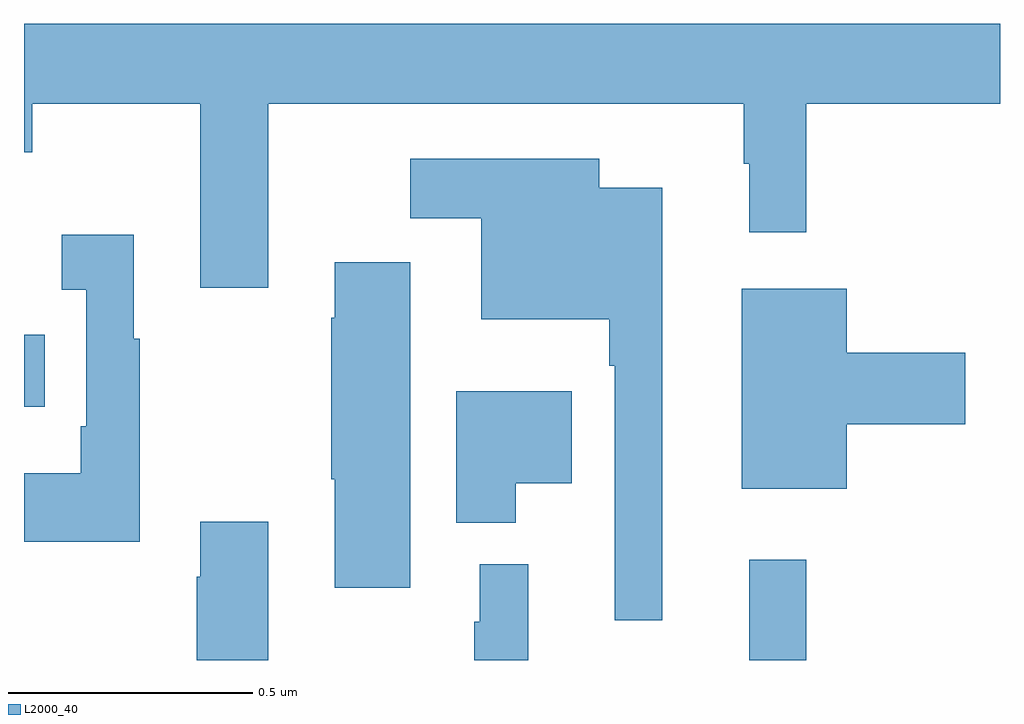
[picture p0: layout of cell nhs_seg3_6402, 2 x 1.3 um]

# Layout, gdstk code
import gdstk
lib = gdstk.Library(unit=1e-6, precision=1e-09)
def R(c, l, rs):  # rectangles x0, y0, x1, y1
    for r in rs: c.add(gdstk.rectangle(r[:2], r[2:], *l))
def P(c, l, *ps):  # polygons
    for p in ps: c.add(gdstk.Polygon(p, *l))
L2000_40 = (2000, 40)

nhs_seg3_6402 = lib.new_cell('nhs_seg3_6402')
R(nhs_seg3_6402, L2000_40, [(191.486,742.4,191.603,742.606), (190,742.919,190.043,743.067)])
P(nhs_seg3_6402, L2000_40, [(190.501,743.54),(191.475,743.54),(191.475,743.417),(191.486,743.417),(191.486,743.277),(191.603,743.277),(191.603,743.54),(192,743.54),(192,743.704),(190,743.704),(190,743.441),(190.017,743.441),(190.017,743.54),(190.361,743.54),(190.361,743.163),(190.501,743.163)],
  [(191.308,743.368),(191.179,743.368),(191.179,743.428),(190.791,743.428),(190.791,743.306),(190.937,743.306),(190.937,743.099),(191.199,743.099),(191.199,743.003),(191.211,743.003),(191.211,742.482),(191.308,742.482)],
  [(190.237,743.059),(190.225,743.059),(190.225,743.272),(190.077,743.272),(190.077,743.159),(190.128,743.159),(190.128,742.879),(190.116,742.879),(190.116,742.783),(190,742.783),(190,742.643),(190.237,742.643)],
  [(190.792,743.215),(190.637,743.215),(190.637,743.102),(190.63,743.102),(190.63,742.771),(190.637,742.771),(190.637,742.548),(190.792,742.548)],
  [(191.686,742.883),(191.929,742.883),(191.929,743.03),(191.686,743.03),(191.686,743.161),(191.471,743.161),(191.471,742.751),(191.686,742.751)],
  [(191.008,742.763),(191.122,742.763),(191.122,742.951),(190.886,742.951),(190.886,742.682),(191.008,742.682)],
  [(190.501,742.684),(190.361,742.684),(190.361,742.571),(190.354,742.571),(190.354,742.4),(190.501,742.4)],
  [(191.033,742.597),(190.934,742.597),(190.934,742.479),(190.923,742.479),(190.923,742.4),(191.033,742.4)])

lib.write_gds('nhs_seg3_6402.gds')
